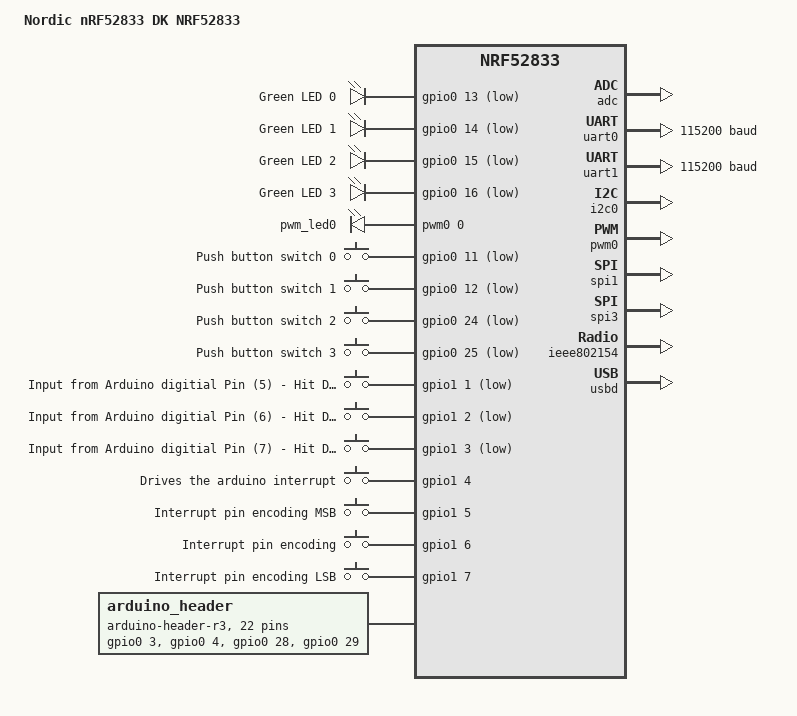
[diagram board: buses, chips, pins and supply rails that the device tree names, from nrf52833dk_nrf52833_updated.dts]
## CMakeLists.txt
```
#
# Copyright (c) 2019 Nordic Semiconductor ASA
#
# SPDX-License-Identifier: LicenseRef-Nordic-5-Clause
#
cmake_minimum_required(VERSION 3.20.0)

find_package(Zephyr REQUIRED HINTS $ENV{ZEPHYR_BASE})

project(app
	VERSION 0.1
	DESCRIPTION "A bluetooth mesh integration for a hightech water gun arena."
	LANGUAGES C)


include_directories(
	${ZEPHYR_NRF_MODULE_DIR}/samples/bluetooth/mesh/common
)

# NORDIC SDK APP START
target_sources(app PRIVATE
	src/main.c
	src/model_handler.c
	#src/vendor_test_model_cli.c
	#src/vendor_test_model_srv.c
	src/vendor_hit_cli.c
	src/vendor_hit_srv.c
	src/vendor_heartbeat_srv.c
	src/vendor_heartbeat_cli.c
	src/vendor_playerstatus_cli.c
	src/vendor_playerstatus_srv.c
	src/vendor_device_modification_cli.c
	src/vendor_device_modification_srv.c
	src/vendor_game_modification_cli.c
	src/vendor_game_modification_srv.c
	)
target_include_directories(app PRIVATE
	include
	${ZEPHYR_NRF_MODULE_DIR}/samples/bluetooth/mesh/common
)

# Preinitialization related to DFU over SMP for nRF52 series
if(CONFIG_SOC_SERIES_NRF52X)
  target_sources_ifdef(CONFIG_MCUMGR_TRANSPORT_BT app PRIVATE
    ${ZEPHYR_NRF_MODULE_DIR}/samples/bluetooth/mesh/common/smp_bt.c)
endif()

# NORDIC SDK APP END
```

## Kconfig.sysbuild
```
#
# Copyright (c) 2023 Nordic Semiconductor
#
# SPDX-License-Identifier: LicenseRef-Nordic-5-Clause
#

source "${ZEPHYR_BASE}/share/sysbuild/Kconfig"

config NRF_DEFAULT_BLUETOOTH
	default y


# menuconfig ETH_ENC28J60
# 	bool "ENC28J60C Ethernet Controller"
# 	default y
# 	depends on DT_HAS_MICROCHIP_ENC28J60_ENABLED
# 	select SPI
# 	help
# 	  ENC28J60C Stand-Alone Ethernet Controller
# 	  with SPI Interface

# if ETH_ENC28J60

# config ETH_ENC28J60_RX_THREAD_STACK_SIZE
# 	int "Stack size for internal incoming packet handler"
# 	depends on ETH_ENC28J60
# 	default 800
# 	help
# 	  Size of the stack used for internal thread which is ran for
# 	  incoming packet processing.

# config ETH_ENC28J60_RX_THREAD_PRIO
# 	int "Priority for internal incoming packet handler"
# 	depends on ETH_ENC28J60
# 	default 2
# 	help
# 	  Priority level for internal thread which is ran for incoming
# 	  packet processing.

# config ETH_ENC28J60_CLKRDY_INIT_WAIT_MS
# 	int "Time to wait for the CLKRDY bit on driver init"
# 	depends on ETH_ENC28J60
# 	default 2
# 	help
# 	  Timeout in milliseconds. Maximum time the initialisation
# 	  of the driver will wait for the OST to expire, indicated
# 	  by the CLKRDY bit set. If timeout driver init will fail
# 	  with -ETIMEDOUT.

# config ETH_ENC28J60_TIMEOUT
# 	int "IP buffer timeout"
# 	depends on ETH_ENC28J60
# 	default 100
# 	help
# 	  Given timeout in milliseconds. Maximum amount of time
# 	  that the driver will wait from the IP stack to get
# 	  a memory buffer before the Ethernet frame is dropped.

# endif # ETH_ENC28J60
```

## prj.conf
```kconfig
#
# Copyright (c) 2019 Nordic Semiconductor ASA
#
# SPDX-License-Identifier: LicenseRef-Nordic-5-Clause
#
CONFIG_NCS_SAMPLES_DEFAULTS=y

# Deffered logging helps improve LPN power consumption
# when friendship is established.
CONFIG_LOG_MODE_DEFERRED=y

# General configuration
CONFIG_SYSTEM_WORKQUEUE_STACK_SIZE=2048
CONFIG_FLASH=y
CONFIG_FLASH_MAP=y
CONFIG_NVS=y
CONFIG_SETTINGS=y
CONFIG_HWINFO=y
CONFIG_DK_LIBRARY=y
CONFIG_PM_SINGLE_IMAGE=y
CONFIG_PM_PARTITION_SIZE_SETTINGS_STORAGE=0x8000
CONFIG_SOC_FLASH_NRF_PARTIAL_ERASE=y
CONFIG_PWM=y

# Bluetooth configuration
CONFIG_BT=y
CONFIG_BT_COMPANY_ID=0x0059
CONFIG_BT_DEVICE_NAME="Arena Device"
CONFIG_BT_L2CAP_TX_BUF_COUNT=8

CONFIG_BT_OBSERVER=y
CONFIG_BT_PERIPHERAL=y
CONFIG_BT_SETTINGS=y
# Increase RX stack size to avoid overflow during provisioning
CONFIG_BT_RX_STACK_SIZE=2700

# Disable unused Bluetooth features
CONFIG_BT_CTLR_DUP_FILTER_LEN=0
CONFIG_BT_CTLR_LE_ENC=n
CONFIG_BT_PHY_UPDATE=n
CONFIG_BT_CTLR_CHAN_SEL_2=n
CONFIG_BT_CTLR_MIN_USED_CHAN=n
CONFIG_BT_CTLR_PRIVACY=n

# Configure Transaction Power
#CONFIG_BT_CTLR_TX_PWR_PLUS_8=y
#CONFIG_BT_CTLR_TX_PWR_PLUS_4=y
#CONFIG_BT_CTLR_TX_PWR_MINUS_4=y
#CONFIG_BT_CTLR_TX_PWR_MINUS_8=y
#CONFIG_BT_CTLR_TX_PWR_MINUS_20=y

# Bluetooth mesh configuration
CONFIG_BT_MESH=y
CONFIG_BT_MESH_RELAY=y
CONFIG_BT_MESH_FRIEND=y
CONFIG_BT_MESH_TX_SEG_MAX=10
CONFIG_BT_MESH_PB_GATT=y
CONFIG_BT_MESH_GATT_PROXY=y
CONFIG_BT_MESH_PROXY_USE_DEVICE_NAME=y
CONFIG_BT_MESH_DK_PROV=y
CONFIG_BT_MESH_CRPL=20


# Generic networking configuration
# CONFIG_NETWORKING=y
# CONFIG_NET_UDP=y
# CONFIG_NET_IPV6=n
# CONFIG_NET_IPV4=y
# CONFIG_NET_ARP=y
# CONFIG_NET_DHCPV4=y
# CONFIG_NET_DHCPV4_OPTION_CALLBACKS=y
#CONFIG_NET_TCP=y
#CONFIG_NET_SOCKETS=y
#CONFIG_NET_SOCKETS_POSIX_NAMES=y
#CONFIG_NET_SOCKETS_POLL_MAX=4

# Network buffers
# CONFIG_NET_PKT_RX_COUNT=16
# CONFIG_NET_PKT_TX_COUNT=16
# CONFIG_NET_BUF_RX_COUNT=80
# CONFIG_NET_BUF_TX_COUNT=80
# CONFIG_NET_CONTEXT_NET_PKT_POOL=y

# IP address options
#CONFIG_NET_IF_UNICAST_IPV6_ADDR_COUNT=3
#CONFIG_NET_IF_MCAST_IPV6_ADDR_COUNT=4
# CONFIG_NET_MAX_CONTEXTS=10

# Address selection
# CONFIG_NET_CONFIG_SETTINGS=y
# CONFIG_NET_CONFIG_MY_IPV4_ADDR="192.168.178.22"
# CONFIG_NET_CONFIG_PEER_IPV4_ADDR="192.168.178.109"

# Activate SPI drivers
# CONFIG_SPI=y
# CONFIG_NET_L2_ETHERNET=y
# CONFIG_ETH_DRIVER=y
# CONFIG_ETH_ENC28J60=y
# CONFIG_DT_HAS_MICROCHIP_ENC28J60_ENABLED=y

# Just for development and auto provisioning
#CONFIG_BT_MESH_PB_ADV=n
#CONFIG_BT_MESH_CFG_CLI=y

# Time Server configuration
#CONFIG_BT_MESH_TIME_SRV=y
#CONFIG_BT_MESH_TIME_MESH_HOP_UNCERTAINTY=30
#CONFIG_BT_MESH_TIME_SRV_CLOCK_ACCURACY=500

#Time Client configuration
#CONFIG_BT_MESH_TIME_CLI=y
#CONFIG_BT_MESH_SHELL=y
#CONFIG_BT_MESH_SHELL_TIME_CLI=y


# Bluetooth mesh models
#CONFIG_BT_MESH_ONOFF_SRV=y
```

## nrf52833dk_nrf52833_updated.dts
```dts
/*
 * Copyright (c) 2019 Nordic Semiconductor ASA
 *
 * SPDX-License-Identifier: Apache-2.0
 */

 /dts-v1/;
 #include <nordic/nrf52833_qiaa.dtsi>
 #include "nrf52833dk_nrf52833-pinctrl.dtsi"
 #include <zephyr/dt-bindings/input/input-event-codes.h>
 
 / {
	 model = "Nordic nRF52833 DK NRF52833";
	 compatible = "nordic,nrf52833-dk-nrf52833";
 
	 chosen {
		 zephyr,console = &uart0;
		 zephyr,shell-uart = &uart0;
		 zephyr,uart-mcumgr = &uart0;
		 zephyr,bt-mon-uart = &uart0;
		 zephyr,bt-c2h-uart = &uart0;
		 zephyr,sram = &sram0;
		 zephyr,flash = &flash0;
		 zephyr,code-partition = &slot0_partition;
		 zephyr,ieee802154 = &ieee802154;
	 };
 
	 leds {
		 compatible = "gpio-leds";
		 led0: led_0 {
			 gpios = <&gpio0 13 GPIO_ACTIVE_LOW>;
			 label = "Green LED 0";
		 };
		 led1: led_1 {
			 gpios = <&gpio0 14 GPIO_ACTIVE_LOW>;
			 label = "Green LED 1";
		 };
		 led2: led_2 {
			 gpios = <&gpio0 15 GPIO_ACTIVE_LOW>;
			 label = "Green LED 2";
		 };
		 led3: led_3 {
			 gpios = <&gpio0 16 GPIO_ACTIVE_LOW>;
			 label = "Green LED 3";
		 };
	 };
 
	 pwmleds {
		 compatible = "pwm-leds";
		 pwm_led0: pwm_led_0 {
			 pwms = <&pwm0 0 PWM_MSEC(20) PWM_POLARITY_INVERTED>;
		 };
	 };
 
	 buttons {
		 compatible = "gpio-keys";
		 button0: button_0 {
			 gpios = <&gpio0 11 (GPIO_PULL_UP | GPIO_ACTIVE_LOW)>;
			 label = "Push button switch 0";
			 zephyr,code = <INPUT_KEY_0>;
		 };
		 button1: button_1 {
			 gpios = <&gpio0 12 (GPIO_PULL_UP | GPIO_ACTIVE_LOW)>;
			 label = "Push button switch 1";
			 zephyr,code = <INPUT_KEY_1>;
		 };
		 button2: button_2 {
			 gpios = <&gpio0 24 (GPIO_PULL_UP | GPIO_ACTIVE_LOW)>;
			 label = "Push button switch 2";
			 zephyr,code = <INPUT_KEY_2>;
		 };
		 button3: button_3 {
			 gpios = <&gpio0 25 (GPIO_PULL_UP | GPIO_ACTIVE_LOW)>;
			 label = "Push button switch 3";
			 zephyr,code = <INPUT_KEY_3>;
		 };
	 };
 
	custom-pins {
		compatible = "gpio-keys";
		input_pin0: input_pin_0 {
			gpios = <&gpio1 1 (GPIO_PULL_UP | GPIO_ACTIVE_LOW)>;
			label = "Input from Arduino digitial Pin (5) - Hit Detection";
			zephyr,code = <INPUT_KEY_4>;
		};
		input_pin1: input_pin_1 {
			gpios = <&gpio1 2 (GPIO_PULL_UP | GPIO_ACTIVE_LOW)>;
			label = "Input from Arduino digitial Pin (6) - Hit Detection";
			zephyr,code = <INPUT_KEY_5>;
		};
		input_pin2: input_pin_2 {
			gpios = <&gpio1 3 (GPIO_PULL_UP | GPIO_ACTIVE_LOW)>;
			label = "Input from Arduino digitial Pin (7) - Hit Detection";
			zephyr,code = <INPUT_KEY_6>;
		};
		output_pin0: output_pin_0 {
			gpios = <&gpio1 4 GPIO_ACTIVE_HIGH>;
			label = "Drives the arduino interrupt";
		};
		output_pin1: output_pin_1 {
			gpios = <&gpio1 5 GPIO_ACTIVE_HIGH>;
			label = "Interrupt pin encoding MSB";
		};
		output_pin2: output_pin_2 {
			gpios = <&gpio1 6 GPIO_ACTIVE_HIGH>;
			label = "Interrupt pin encoding";
		};
		output_pin3: output_pin_3 {
			gpios = <&gpio1 7 GPIO_ACTIVE_HIGH>;
			label = "Interrupt pin encoding LSB";
		};
	};
 
	 arduino_header: connector {
		 compatible = "arduino-header-r3";
		 #gpio-cells = <2>;
		 gpio-map-mask = <0xffffffff 0xffffffc0>;
		 gpio-map-pass-thru = <0 0x3f>;
		 gpio-map = <0 0 &gpio0 3 0>,
			  <1 0 &gpio0 4 0>,
			  <2 0 &gpio0 28 0>,
			  <3 0 &gpio0 29 0>,
			  <4 0 &gpio0 30 0>,
			  <5 0 &gpio0 31 0>,
			  <6 0 &gpio1 1 0>,
			  <7 0 &gpio1 2 0>,
			  <8 0 &gpio1 3 0>,
			  <9 0 &gpio1 4 0>,
			  <10 0 &gpio1 5 0>,
			  <11 0 &gpio1 6 0>,
			  <12 0 &gpio1 7 0>,
			  <13 0 &gpio1 8 0>,
			  <14 0 &gpio0 17 0>,
			  <15 0 &gpio0 19 0>,
			  <16 0 &gpio0 20 0>,
			  <17 0 &gpio0 21 0>,
			  <18 0 &gpio0 22 0>,
			  <19 0 &gpio0 23 0>,
			  <20 0 &gpio0 26 0>,
			  <21 0 &gpio0 27 0>;	/* D15 */
	 };
 
	 /* These aliases are provided for compatibility with samples */
	 aliases {
		 led0 = &led0;
		 led1 = &led1;
		 led2 = &led2;
		 led3 = &led3;
		 pwm-led0 = &pwm_led0;
		 sw0 = &button0;
		 sw1 = &button1;
		 sw2 = &button2;
		 sw3 = &button3;
		 bootloader-led0 = &led0;
		 mcuboot-button0 = &button0;
		 mcuboot-led0 = &led0;
		 watchdog0 = &wdt0;
		 input0 = &input_pin0;
		 input1 = &input_pin1;
		 input2 = &input_pin2;
		 output0 = &output_pin0;
		 output1 = &output_pin1;
		 output2 = &output_pin2;
		 output3 = &output_pin3;
	 };
 };
 
 &adc {
	 status = "okay";
 };
 
 &uicr {
	 gpio-as-nreset;
 };
 
 &gpiote {
	 status = "okay";
 };
 
 &gpio0 {
	 status = "okay";
 };
 
 &gpio1 {
	 status = "okay";
 };
 
 &uart0 {
	 compatible = "nordic,nrf-uarte";
	 status = "okay";
	 current-speed = <115200>;
	 pinctrl-0 = <&uart0_default>;
	 pinctrl-1 = <&uart0_sleep>;
	 pinctrl-names = "default", "sleep";
 };
 
 arduino_serial: &uart1 {
	 current-speed = <115200>;
	 pinctrl-0 = <&uart1_default>;
	 pinctrl-1 = <&uart1_sleep>;
	 pinctrl-names = "default", "sleep";
 };
 
 arduino_i2c: &i2c0 {
	 compatible = "nordic,nrf-twi";
	 status = "okay";
	 pinctrl-0 = <&i2c0_default>;
	 pinctrl-1 = <&i2c0_sleep>;
	 pinctrl-names = "default", "sleep";
 };
 
 &i2c1 {
	 compatible = "nordic,nrf-twi";
	 /* Cannot be used together with spi1. */
	 /* status = "okay"; */
	 pinctrl-0 = <&i2c1_default>;
	 pinctrl-1 = <&i2c1_sleep>;
	 pinctrl-names = "default", "sleep";
 };
 
 &pwm0 {
	 status = "okay";
	 pinctrl-0 = <&pwm0_default>;
	 pinctrl-1 = <&pwm0_sleep>;
	 pinctrl-names = "default", "sleep";
 };
 
 &spi0 {
	 compatible = "nordic,nrf-spi";
	 /* Cannot be used together with i2c0. */
	 /* status = "okay"; */
	 pinctrl-0 = <&spi0_default>;
	 pinctrl-1 = <&spi0_sleep>;
	 pinctrl-names = "default", "sleep";
 };
 
 &spi1 {
	 compatible = "nordic,nrf-spi";
	 status = "okay";
	 pinctrl-0 = <&spi1_default>;
	 pinctrl-1 = <&spi1_sleep>;
	 pinctrl-names = "default", "sleep";
 };
 
 arduino_spi: &spi3 {
	 status = "okay";
	 cs-gpios = <&arduino_header 16 GPIO_ACTIVE_LOW>; /* D10 */
	 pinctrl-0 = <&spi3_default>;
	 pinctrl-1 = <&spi3_sleep>;
	 pinctrl-names = "default", "sleep";
 };
 
 &ieee802154 {
	 status = "okay";
 };
 
 &flash0 {
 
	 partitions {
		 compatible = "fixed-partitions";
		 #address-cells = <1>;
		 #size-cells = <1>;
 
		 boot_partition: partition@0 {
			 label = "mcuboot";
			 reg = <0x00000000 0xC000>;
		 };
		 slot0_partition: partition@c000 {
			 label = "image-0";
			 reg = <0x0000C000 0x37000>;
		 };
		 slot1_partition: partition@43000 {
			 label = "image-1";
			 reg = <0x00043000 0x37000>;
		 };
		 storage_partition: partition@7a000 {
			 label = "storage";
			 reg = <0x0007A000 0x00006000>;
		 };
	 };
 };
 
 zephyr_udc0: &usbd {
	 compatible = "nordic,nrf-usbd";
	 status = "okay";
 };
 
&power {
	status = "okay";
};
```

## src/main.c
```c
#include <zephyr/bluetooth/bluetooth.h>
#include <zephyr/bluetooth/mesh.h>
#include <bluetooth/mesh/models.h>
#include <bluetooth/mesh/dk_prov.h>
#include <dk_buttons_and_leds.h>
#include "model_handler.h"
#include "smp_bt.h"
#include <zephyr/bluetooth/mesh/cfg_cli.h>
#include "board.h"

static void bt_ready(int err)
{
	if (err) {
		printk("Bluetooth init failed (err %d)\n", err);
		return;
	}

	printk("Bluetooth initialized\n");

	dk_leds_init();
	dk_buttons_init(NULL);

	err = bt_mesh_init(bt_mesh_dk_prov_init(), model_handler_init());
	if (err) {
		printk("Initializing mesh failed (err %d)\n", err);
		return;
	}

	if (IS_ENABLED(CONFIG_SETTINGS)) {
		printk("Loading stored settings\n");
		settings_load();
	}

	bt_mesh_prov_enable(BT_MESH_PROV_ADV | BT_MESH_PROV_GATT);

	printk("Mesh initialized\n");

	if (IS_ENABLED(CONFIG_SOC_SERIES_NRF52X) && IS_ENABLED(CONFIG_MCUMGR_TRANSPORT_BT)) {
		err = smp_dfu_init();
		if (err) {
			printk("Unable to initialize DFU (err %d)\n", err);
		}
	}
}

int main(void)
{
	int err;

	printk("Initializing...\n");
	
	err = bt_enable(bt_ready);
	if (err) {
		printk("Bluetooth init failed (err %d)\n", err);
	}

	return 0;
}
```

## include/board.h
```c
#ifndef BOARD_H
#define BOARD_H


#include "vendor_model_common.h"

/*
    NODE_NODE_ADDR_SELFADDR - Address of the node
    NODE_ADDR_TARGET - Address of the target node (for publication etc.)
    MOD_VND_ID - Model ID 

*/

#if PROGRAMM_CLIENT
#if !defined(NODE_ADDR_SELF)
#define NODE_ADDR_SELF 0x0b0c
#endif
#define NODE_ADDR_TARGET 0x0b0d
#define MOD_VND_ID BT_MESH_MODEL_ID_SPYRA_HIT_CLI

#define GROUP_ADDR 0xc000
#define PUBLISHER_ADDR  0x000f
#else
#if !defined(NODE_ADDR_SELF)
#define NODE_ADDR_SELF 0x0b0d
#endif
#define NODE_ADDR_TARGET 0x0b0c
#define MOD_VND_ID BT_MESH_MODEL_ID_SPYRA_HIT_SRV

#define GROUP_ADDR 0xc000
#define PUBLISHER_ADDR  0x000f
#endif

#define HIT_PIN DT_ALIAS(input0)
#define SHOT_PIN DT_ALIAS(input1)
#define PUMP_PIN DT_ALIAS(input2)

#define INTERRUPT_PIN DT_ALIAS(output0)
#define INTERRUPT_DECODER_MSB DT_ALIAS(output1)
#define INTERRUPT_DECODER_2 DT_ALIAS(output2)
#define INTERRUPT_DECODER_LSB DT_ALIAS(output3)

#endif

static inline int board_init(uint16_t *addr)
{
	*addr = NODE_ADDR_SELF;
	return 0;
}
```

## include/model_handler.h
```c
#ifndef MODEL_HANDLER_H__
#define MODEL_HANDLER_H__

#include <zephyr/bluetooth/mesh.h>

#ifdef __cplusplus
extern "C" {
#endif

const struct bt_mesh_comp *model_handler_init(void);

#ifdef __cplusplus
}
#endif

#endif /* MODEL_HANDLER_H__ */
```

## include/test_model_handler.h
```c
/*
 * Copyright (c) 2019 Nordic Semiconductor ASA
 *
 * SPDX-License-Identifier: LicenseRef-Nordic-5-Clause
 */

/**
 * @file
 * @brief Model handler
 */

#ifndef TEST_MODEL_HANDLER_H__
#define TEST_MODEL_HANDLER_H__

#include <zephyr/bluetooth/mesh.h>

#ifdef __cplusplus
extern "C" {
#endif

const struct bt_mesh_comp *test_model_handler_init(void);

#ifdef __cplusplus
}
#endif

#endif /* TEST_MODEL_HANDLER_H__ */
```

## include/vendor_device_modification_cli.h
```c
/*
* Vendor client model that implements a device modification model.
*/

#ifndef VENDOR_DEVICE_MODIFICATION_CLI_H
#define VENDOR_DEVICE_MODIFICATION_CLI_H

#include "vendor_model_common.h"

struct bt_mesh_vendor_device_modification_cli;

/** @def BT_MESH_VENDOR_DEVICE_MODIFICATION_CLI_INIT
 *
 * @brief Initialization parameters for a @ref bt_mesh_vendor_devicemodification_cli instance.
 *
 * @param[in] _status_handler Optional status message handler.
 */
#define BT_MESH_VENDOR_DEVICE_MODIFICATION_CLI_INIT(_handlers)	\
	{                                                   \
		.handlers = _handlers,                          \
	}

/** @def BT_MESH_MODEL_VENDOR_DEVICE_MODIFICATION_CLI
 *
 * @brief Vendor Device Modification Client model composition data entry.
 *
 * @param[in] _cli Pointer to a @ref bt_mesh_vendor_device_modification_cli instance.
 */
#define BT_MESH_VENDOR_MODEL_DEVICE_MODIFICATION_CLI(_cli)                               				\
	BT_MESH_MODEL_VND_CB(SPYRA_COMPANY_ID,													\
						BT_MESH_MODEL_ID_SPYRA_DEVICE_MODIFICATION_CLI,                   			\
			 			_vendor_device_modification_cli_opcode_list, &(_cli)->pub,                  	\
			 			BT_MESH_MODEL_USER_DATA(struct bt_mesh_vendor_device_modification_cli, _cli),	\
			 			&_bt_mesh_vendor_device_modification_cli_cb)


/** Generic Vendor Device Modification Client state access handlers. */
struct bt_mesh_vendor_device_modification_cli_handlers {
	/** @brief Get the Device Modification state.
	 *
	 * @note This handler is mandatory.
	 *
	 * @param[in] cli Client instance to get the state of.
	 * @param[in] ctx Message context for the message that triggered the
	 * change, or NULL if the change is not coming from a message.
	 * @param[out] rsp Response structure to be filled.
	 */
	void (*const status)(struct bt_mesh_vendor_device_modification_cli *cli,
			  struct bt_mesh_msg_ctx *ctx,
			  struct bt_mesh_vendor_playerstatus_status *rsp);
};
                                         
/**
 * Vendor Device Modification Client structure.
 *
 * Should be initialized with the @ref BT_MESH_VENDOR_DEVICE_MODIFICATION_CLI_INIT macro.
 */
struct bt_mesh_vendor_device_modification_cli {
	/** Current Transaction ID. */
	uint8_t tid;
	/** Response context for tracking acknowledged messages. */
	struct bt_mesh_msg_ack_ctx ack_ctx;
	/** Publish parameters. */
	struct bt_mesh_model_pub pub;
	/* Publication buffer */
	struct net_buf_simple pub_buf;
	/* Publication data */
	uint8_t pub_data[BT_MESH_MODEL_BUF_LEN(BT_MESH_VENDOR_DEVICE_MODIFICATION_SET_OP,
					       BT_MESH_VENDOR_DEVICE_MODIFICATION_MSG_SET_MAX_LEN)];
	/** Access model pointer. */
	struct bt_mesh_model *model;
	/** Handler function structure. */
	const struct bt_mesh_vendor_device_modification_cli_handlers *handlers;
};

/** @brief Set the Device Modification state in the srv.
 *
 * This call is blocking if the @p rsp buffer is non-NULL. Otherwise, this
 * function will return, and the response will be passed to the
 * @ref bt_mesh_vendor_device_modification_cli::status_handler callback.
 *
 * @param[in] cli Client model to send on.
 * @param[in] ctx Message context, or NULL to use the configured publish
 * parameters.
 * @param[in] set New hit parameters to set. @p set::transition can either
 * point to a transition structure, or be left to NULL to use the default
 * transition parameters on the server.
 * @param[out] rsp Status response buffer, or NULL to keep from blocking.
 *
 * @retval 0 Successfully sent the message and populated the @p rsp buffer.
 * @retval -EALREADY A blocking request is already in progress.
 * @retval -EADDRNOTAVAIL A message context was not provided and publishing is
 * not configured.
 * @retval -EAGAIN The device has not been provisioned.
 * @retval -ETIMEDOUT The request timed out without a response.
 */
int bt_mesh_vendor_device_modification_cli_set(struct bt_mesh_vendor_device_modification_cli *cli,
			  struct bt_mesh_msg_ctx *ctx,
			  const struct bt_mesh_vendor_device_modification_set *set,
			  struct bt_mesh_vendor_playerstatus_status *rsp);


/** @cond INTERNAL_HIDDEN */
extern const struct bt_mesh_model_op _vendor_device_modification_cli_opcode_list[];
extern const struct bt_mesh_model_cb _bt_mesh_vendor_device_modification_cli_cb;
/** @endcond */


#endif
```

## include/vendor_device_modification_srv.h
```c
/*
* Vendor server model that implements a Device Modification model.
*/

#ifndef VENDOR_DEVICE_MODIFICATION_SRV_H
#define VENDOR_DEVICE_MODIFICATION_SRV_H

#include "vendor_model_common.h"

struct bt_mesh_vendor_device_modification_srv;

/** @def BT_MESH_VENDOR_GAME_MODIFICATION_SRV_INIT
 *
 * @brief Init parameters for a @ref bt_mesh_vendor_device_modification_srv instance.
 *
 * @param[in] _handlers State access handlers to use in the model instance.
 */
#define BT_MESH_VENDOR_DEVICE_MODIFICATION_SRV_INIT(_handlers)              \
	{                                                             \
		.handlers = _handlers,                                    \
	}


/** @def BT_MESH_VENDOR_MODEL_GAME_MODIFICATION_SRV
 *
 * @brief Vendor Device Modidifcation model composition data entry.
 *
 * @param[in] _srv Pointer to a @ref bt_mesh_vendor_device_modification_srv instance.
 */
#define BT_MESH_VENDOR_MODEL_DEVICE_MODIFICATION_SRV(_srv)                                            	\
	BT_MESH_MODEL_VND_CB(SPYRA_COMPANY_ID,														\
						BT_MESH_MODEL_ID_SPYRA_DEVICE_MODIFICATION_SRV,                               	\
			 			_vendor_device_modification_srv_opcode_list, &(_srv)->pub,                      	\
			 			BT_MESH_MODEL_USER_DATA(struct bt_mesh_vendor_device_modification_srv, _srv),  	\
			 			&_bt_mesh_vendor_device_modification_srv_cb)


int vendor_device_modification_srv_pub(struct bt_mesh_vendor_device_modification_srv *srv,
			  struct bt_mesh_msg_ctx *ctx,
			  const struct bt_mesh_vendor_playerstatus_status *status);


/** Generic Vendor Device Modification Server state access handlers. */
struct bt_mesh_vendor_device_modification_srv_handlers {
	/** @brief Set the Device Modification state.
	 *
	 * When a set message is received, the model publishes a status message, with the response
	 * set to @c rsp. When an acknowledged set message is received, the model also sends a
	 * response back to a client.
	 *
	 * @note This handler is mandatory.
	 *
	 * @param[in] srv Server instance to set the state of.
	 * @param[in] ctx Message context for the message that triggered the
	 * change, or NULL if the change is not coming from a message.
	 * @param[in] set Parameters of the state change.
	 * @param[out] rsp Response structure to be filled.
	 */
	void (*const set)(struct bt_mesh_vendor_device_modification_srv *srv,
			  struct bt_mesh_msg_ctx *ctx,
			  const struct bt_mesh_vendor_device_modification_set *set,
			  struct bt_mesh_vendor_playerstatus_status *rsp);
};

/**
 * Generic Vendor Device Modification Server instance. Should primarily be initialized with the
 * @ref BT_MESH_VENDOR_GAME_MODIFICATION_SRV_INIT macro.
 */
struct bt_mesh_vendor_device_modification_srv {
	/** Transaction ID tracker. */
	struct bt_mesh_tid_ctx prev_transaction;
	/** Handler function structure. */
	const struct bt_mesh_vendor_device_modification_srv_handlers *handlers;
	/** Access model pointer. */
	struct bt_mesh_model *model;
	/** Publish parameters. */
	struct bt_mesh_model_pub pub;
	/* Publication buffer */
	struct net_buf_simple pub_buf;
	/* Publication data */
	uint8_t pub_data[BT_MESH_MODEL_BUF_LEN(
		BT_MESH_VENDOR_GAME_MODIFICATION_STATUS_OP, BT_MESH_VENDOR_GAME_MODIFICATION_MSG_STATUS_MAX_LEN)];
	/** Internal flag state. */
	atomic_t flags;
};


/** @cond INTERNAL_HIDDEN */
extern const struct bt_mesh_model_op _vendor_device_modification_srv_opcode_list[];
extern const struct bt_mesh_model_cb _bt_mesh_vendor_device_modification_srv_cb;
/** @endcond */

#endif
```

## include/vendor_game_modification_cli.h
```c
/*
* Vendor client model that implements a game modification model.
*/

#ifndef VENDOR_GAME_MODIFICATION_CLI_H
#define VENDOR_GAME_MODIFICATION_CLI_H

#include "vendor_model_common.h"

struct bt_mesh_vendor_game_modification_cli;

/** @def BT_MESH_VENDOR_GAME_MODIFICATION_CLI_INIT
 *
 * @brief Initialization parameters for a @ref bt_mesh_vendor_gamemodification_cli instance.
 *
 * @param[in] _status_handler Optional status message handler.
 */
#define BT_MESH_VENDOR_GAME_MODIFICATION_CLI_INIT(_handlers)	\
	{                                                   \
		.handlers = _handlers,                          \
	}

/** @def BT_MESH_MODEL_VENDOR_GAME_MODIFICATION_CLI
 *
 * @brief Vendor Device Modification Client model composition data entry.
 *
 * @param[in] _cli Pointer to a @ref bt_mesh_vendor_game_modification_cli instance.
 */
#define BT_MESH_VENDOR_MODEL_GAME_MODIFICATION_CLI(_cli)                               				\
	BT_MESH_MODEL_VND_CB(SPYRA_COMPANY_ID,													\
						BT_MESH_MODEL_ID_SPYRA_GAME_MODIFICATION_CLI,                   			\
			 			_vendor_game_modification_cli_opcode_list, &(_cli)->pub,                  	\
			 			BT_MESH_MODEL_USER_DATA(struct bt_mesh_vendor_game_modification_cli, _cli),	\
			 			&_bt_mesh_vendor_game_modification_cli_cb)


/** Generic Vendor Device Modification Client state access handlers. */
struct bt_mesh_vendor_game_modification_cli_handlers {
	/** @brief Get the Device Modification state.
	 *
	 * @note This handler is mandatory.
	 *
	 * @param[in] cli Client instance to get the state of.
	 * @param[in] ctx Message context for the message that triggered the
	 * change, or NULL if the change is not coming from a message.
	 * @param[out] rsp Response structure to be filled.
	 */
	void (*const status)(struct bt_mesh_vendor_game_modification_cli *cli,
			  struct bt_mesh_msg_ctx *ctx,
			  struct bt_mesh_vendor_playerstatus_status *rsp);
};
                                         
/**
 * Vendor Device Modification Client structure.
 *
 * Should be initialized with the @ref BT_MESH_VENDOR_GAME_MODIFICATION_CLI_INIT macro.
 */
struct bt_mesh_vendor_game_modification_cli {
	/** Current Transaction ID. */
	uint8_t tid;
	/** Response context for tracking acknowledged messages. */
	struct bt_mesh_msg_ack_ctx ack_ctx;
	/** Publish parameters. */
	struct bt_mesh_model_pub pub;
	/* Publication buffer */
	struct net_buf_simple pub_buf;
	/* Publication data */
	uint8_t pub_data[BT_MESH_MODEL_BUF_LEN(BT_MESH_VENDOR_GAME_MODIFICATION_SET_OP,
					       BT_MESH_VENDOR_GAME_MODIFICATION_MSG_SET_MAX_LEN)];
	/** Access model pointer. */
	struct bt_mesh_model *model;
	/** Handler function structure. */
	const struct bt_mesh_vendor_game_modification_cli_handlers *handlers;
};

/** @brief Set the Device Modification state in the srv.
 *
 * This call is blocking if the @p rsp buffer is non-NULL. Otherwise, this
 * function will return, and the response will be passed to the
 * @ref bt_mesh_vendor_game_modification_cli::status_handler callback.
 *
 * @param[in] cli Client model to send on.
 * @param[in] ctx Message context, or NULL to use the configured publish
 * parameters.
 * @param[in] set New hit parameters to set. @p set::transition can either
 * point to a transition structure, or be left to NULL to use the default
 * transition parameters on the server.
 * @param[out] rsp Status response buffer, or NULL to keep from blocking.
 *
 * @retval 0 Successfully sent the message and populated the @p rsp buffer.
 * @retval -EALREADY A blocking request is already in progress.
 * @retval -EADDRNOTAVAIL A message context was not provided and publishing is
 * not configured.
 * @retval -EAGAIN The game has not been provisioned.
 * @retval -ETIMEDOUT The request timed out without a response.
 */
int bt_mesh_vendor_game_modification_cli_set(struct bt_mesh_vendor_game_modification_cli *cli,
			  struct bt_mesh_msg_ctx *ctx,
			  const struct bt_mesh_vendor_game_modification_set *set,
			  struct bt_mesh_vendor_playerstatus_status *rsp);


/** @cond INTERNAL_HIDDEN */
extern const struct bt_mesh_model_op _vendor_game_modification_cli_opcode_list[];
extern const struct bt_mesh_model_cb _bt_mesh_vendor_game_modification_cli_cb;
/** @endcond */


#endif
```

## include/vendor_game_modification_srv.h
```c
/*
* Vendor server model that implements a Device Modification model.
*/

#ifndef VENDOR_GAME_MODIFICATION_SRV_H
#define VENDOR_GAME_MODIFICATION_SRV_H

#include "vendor_model_common.h"

struct bt_mesh_vendor_game_modification_srv;

/** @def BT_MESH_VENDOR_GAME_MODIFICATION_SRV_INIT
 *
 * @brief Init parameters for a @ref bt_mesh_vendor_game_modification_srv instance.
 *
 * @param[in] _handlers State access handlers to use in the model instance.
 */
#define BT_MESH_VENDOR_GAME_MODIFICATION_SRV_INIT(_handlers)              \
	{                                                             \
		.handlers = _handlers,                                    \
	}


/** @def BT_MESH_VENDOR_MODEL_GAME_MODIFICATION_SRV
 *
 * @brief Vendor Device Modidifcation model composition data entry.
 *
 * @param[in] _srv Pointer to a @ref bt_mesh_vendor_game_modification_srv instance.
 */
#define BT_MESH_VENDOR_MODEL_GAME_MODIFICATION_SRV(_srv)                                            	\
	BT_MESH_MODEL_VND_CB(SPYRA_COMPANY_ID,														\
						BT_MESH_MODEL_ID_SPYRA_GAME_MODIFICATION_SRV,                               	\
			 			_vendor_game_modification_srv_opcode_list, &(_srv)->pub,                      	\
			 			BT_MESH_MODEL_USER_DATA(struct bt_mesh_vendor_game_modification_srv, _srv),  	\
			 			&_bt_mesh_vendor_game_modification_srv_cb)


int vendor_game_modification_srv_pub(struct bt_mesh_vendor_game_modification_srv *srv,
			  struct bt_mesh_msg_ctx *ctx,
			  const struct bt_mesh_vendor_playerstatus_status *status);


/** Generic Vendor Device Modification Server state access handlers. */
struct bt_mesh_vendor_game_modification_srv_handlers {
	/** @brief Set the Device Modification state.
	 *
	 * When a set message is received, the model publishes a status message, with the response
	 * set to @c rsp. When an acknowledged set message is received, the model also sends a
	 * response back to a client.
	 *
	 * @note This handler is mandatory.
	 *
	 * @param[in] srv Server instance to set the state of.
	 * @param[in] ctx Message context for the message that triggered the
	 * change, or NULL if the change is not coming from a message.
	 * @param[in] set Parameters of the state change.
	 * @param[out] rsp Response structure to be filled.
	 */
	void (*const set)(struct bt_mesh_vendor_game_modification_srv *srv,
			  struct bt_mesh_msg_ctx *ctx,
			  const struct bt_mesh_vendor_game_modification_set *set,
			  struct bt_mesh_vendor_playerstatus_status *rsp);
};

/**
 * Generic Vendor Device Modification Server instance. Should primarily be initialized with the
 * @ref BT_MESH_VENDOR_GAME_MODIFICATION_SRV_INIT macro.
 */
struct bt_mesh_vendor_game_modification_srv {
	/** Transaction ID tracker. */
	struct bt_mesh_tid_ctx prev_transaction;
	/** Handler function structure. */
	const struct bt_mesh_vendor_game_modification_srv_handlers *handlers;
	/** Access model pointer. */
	struct bt_mesh_model *model;
	/** Publish parameters. */
	struct bt_mesh_model_pub pub;
	/* Publication buffer */
	struct net_buf_simple pub_buf;
	/* Publication data */
	uint8_t pub_data[BT_MESH_MODEL_BUF_LEN(
		BT_MESH_VENDOR_GAME_MODIFICATION_STATUS_OP, BT_MESH_VENDOR_GAME_MODIFICATION_MSG_STATUS_MAX_LEN)];
	/** Internal flag state. */
	atomic_t flags;
};


/** @cond INTERNAL_HIDDEN */
extern const struct bt_mesh_model_op _vendor_game_modification_srv_opcode_list[];
extern const struct bt_mesh_model_cb _bt_mesh_vendor_game_modification_srv_cb;
/** @endcond */

#endif
```

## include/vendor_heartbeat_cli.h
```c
/*
* Vendor model that implements a simple heartbeat function which is published by a server model in regular intervalls.  
*/

#ifndef VENDOR_HEARTBEAT_CLI_H
#define VENDOR_HEARTBEAT_CLI_H

#include "vendor_model_common.h"

struct bt_mesh_vendor_heartbeat_cli;

/** @def BT_MESH_VENDOR_HEARTBEAT_CLI_INIT
 *
 * @brief Initialization parameters for a @ref bt_mesh_vendor_heartbeat_cli instance.
 *
 * @param[in] _status_handler Optional status message handler.
 */
#define BT_MESH_VENDOR_HEARTBEAT_CLI_INIT(_handlers)	\
	{                                                   \
		.handlers = _handlers,                          \
	}

/** @def BT_MESH_MODEL_VENDOR_HEARTBEAT_CLI
 *
 * @brief Vendor Heartbeat Client model composition data entry.
 *
 * @param[in] _cli Pointer to a @ref bt_mesh_Vendor_heartbeat_cli instance.
 */
#define BT_MESH_VENDOR_MODEL_HEARTBEAT_CLI(_cli)                               				\
	BT_MESH_MODEL_VND_CB(SPYRA_COMPANY_ID,													\
						BT_MESH_MODEL_ID_SPYRA_HEARTBEAT_CLI,                   			\
			 			_vendor_heartbeat_cli_opcode_list, &(_cli)->pub,                  	\
			 			BT_MESH_MODEL_USER_DATA(struct bt_mesh_vendor_heartbeat_cli, _cli),	\
			 			&_bt_mesh_vendor_heartbeat_cli_cb)

/** Parameters for the Vendor Heartbeat Status message. */
//struct bt_mesh_vendor_heartbeat_get {
//	bool reuse_transaction;
//	const struct bt_mesh_model_transition *transition;
//};

/** Generic Vendor Heartbeat Client state access handlers. */
struct bt_mesh_vendor_heartbeat_cli_handlers {
	/** @brief Get the Heartbeat state.
	 *
	 * @note This handler is mandatory.
	 *
	 * @param[in] cli Client instance to get the state of.
	 * @param[in] ctx Message context for the message that triggered the
	 * change, or NULL if the change is not coming from a message.
	 * @param[out] rsp Response structure to be filled.
	 */
	void (*const status)(struct bt_mesh_vendor_heartbeat_cli *cli,
			  struct bt_mesh_msg_ctx *ctx,
			  struct bt_mesh_vendor_playerstatus_status *rsp);
};
                                         
/**
 * Vendor Heartbeat Client structure.
 *
 * Should be initialized with the @ref BT_MESH_VENDOR_HEARTBEAT_CLI_INIT macro.
 */
struct bt_mesh_vendor_heartbeat_cli {
	/** Current Transaction ID. */
	uint8_t tid;
	/** Response context for tracking acknowledged messages. */
	struct bt_mesh_msg_ack_ctx ack_ctx;
	/** Publish parameters. */
	struct bt_mesh_model_pub pub;
	/* Publication buffer */
	struct net_buf_simple pub_buf;
	/* Publication data */
	uint8_t pub_data[BT_MESH_MODEL_BUF_LEN(BT_MESH_VENDOR_HEARTBEAT_GET_OP,
					       BT_MESH_VENDOR_HEARTBEAT_MSG_GET_MAX_LEN)];
	/** Access model pointer. */
	struct bt_mesh_model *model;
	/** Handler function structure. */
	const struct bt_mesh_vendor_heartbeat_cli_handlers *handlers;
};

/** @brief Get the status of the bound srv.
 *
 * This call is blocking if the @p rsp buffer is non-NULL. Otherwise, this
 * function will return, and the response will be passed to the
 * @ref bt_mesh_vendor_heartbeat_cli::status_handler callback.
 *
 * @param[in] cli Client model to send on.
 * @param[in] ctx Message context, or NULL to use the configured publish
 * parameters.
 * @param[out] rsp Status response buffer, or NULL to keep from blocking.
 *
 * @retval 0 Successfully sent the message and populated the @p rsp buffer.
 * @retval -EALREADY A blocking request is already in progress.
 * @retval -EADDRNOTAVAIL A message context was not provided and publishing is
 * not configured.
 * @retval -EAGAIN The device has not been provisioned.
 * @retval -ETIMEDOUT The request timed out without a response.
 */
int bt_mesh_vendor_heartbeat_cli_get(struct bt_mesh_vendor_heartbeat_cli *cli,
			  struct bt_mesh_msg_ctx *ctx,
			  struct bt_mesh_vendor_playerstatus_status *rsp);


/** @cond INTERNAL_HIDDEN */
extern const struct bt_mesh_model_op _vendor_heartbeat_cli_opcode_list[];
extern const struct bt_mesh_model_cb _bt_mesh_vendor_heartbeat_cli_cb;
/** @endcond */


#endif
```

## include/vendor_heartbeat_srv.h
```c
/*
* Vendor model that implements a simple heartbeat function which is published by a server model in regular intervalls.  
*/

#ifndef VENDOR_HEARTBEAT_SRV_H
#define VENDOR_HEARTBEAT_SRV_H

#include "vendor_model_common.h"

struct bt_mesh_vendor_heartbeat_srv;

/** @def BT_MESH_VENDOR_HEARTBEAT_SRV_INIT
 *
 * @brief Init parameters for a @ref bt_mesh_vendor_heartbeat_srv instance.
 *
 * @param[in] _handlers State access handlers to use in the model instance.
 */
#define BT_MESH_VENDOR_HEARTBEAT_SRV_INIT(_handlers)              \
	{                                                             \
		.handlers = _handlers,                                    \
	}


/** @def BT_MESH_VENDOR_MODEL_HEARTBEAT_SRV
 *
 * @brief Vendor Heartbeat model composition data entry.
 *
 * @param[in] _srv Pointer to a @ref bt_mesh_vendor_heartbeat_srv instance.
 */
#define BT_MESH_VENDOR_MODEL_HEARTBEAT_SRV(_srv)                                            	\
	BT_MESH_MODEL_VND_CB(SPYRA_COMPANY_ID,														\
						BT_MESH_MODEL_ID_SPYRA_HEARTBEAT_SRV,                               	\
			 			NULL, &(_srv)->pub,                      	\
			 			BT_MESH_MODEL_USER_DATA(struct bt_mesh_vendor_heartbeat_srv, _srv),  	\
			 			&_bt_mesh_vendor_heartbeat_srv_cb)


/** Generic Vendor Heartbeat Server state access handlers. */
struct bt_mesh_vendor_heartbeat_srv_handlers {
	/** @brief Get the Heartbeat state.
	 *
	 * @note This handler is mandatory.
	 *
	 * @param[in] srv Server instance to get the state of.
	 * @param[in] ctx Message context for the message that triggered the
	 * change, or NULL if the change is not coming from a message.
	 * @param[out] rsp Response structure to be filled.
	 */
	void (*const get)(struct bt_mesh_vendor_heartbeat_srv *srv,
			  struct bt_mesh_msg_ctx *ctx,
			  struct bt_mesh_vendor_playerstatus_status *rsp);
};

/**
 * Generic Vendor Heartbeat Server instance. Should primarily be initialized with the
 * @ref BT_MESH_VENDOR_HEARTBEAT_SRV_INIT macro.
 */
struct bt_mesh_vendor_heartbeat_srv {
	/** Transaction ID tracker. */
	struct bt_mesh_tid_ctx prev_transaction;
	/** Handler function structure. */
	const struct bt_mesh_vendor_heartbeat_srv_handlers *handlers;
	/** Access model pointer. */
	struct bt_mesh_model *model;
	/** Publish parameters. */
	struct bt_mesh_model_pub pub;
	/* Publication buffer */
	struct net_buf_simple pub_buf;
	/* Publication data */
	uint8_t pub_data[BT_MESH_MODEL_BUF_LEN(
		BT_MESH_VENDOR_HEARTBEAT_STATUS_OP, BT_MESH_VENDOR_HEARTBEAT_MSG_STATUS_MAX_LEN)];
	/** Internal flag state. */
	atomic_t flags;
};


/** @cond INTERNAL_HIDDEN */
//extern const struct bt_mesh_model_op _vendor_heartbeat_srv_opcode_list[];
extern const struct bt_mesh_model_cb _bt_mesh_vendor_heartbeat_srv_cb;
/** @endcond */

#endif
```

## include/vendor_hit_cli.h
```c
/*
* Vendor client model that implements a hit model.
* Message from the client is sent after the client (hit detection) recognizes a hit. This is triggered outside the bluetooth environment.
* The model then sends an acknowledged SET message to the server (watergun) to update the lifes remaining.
* The message payload consists of the playerid (hit detection and watergun belong to the same player) and the remaining lifes. Both are bit encoded.
*/

#ifndef VENDOR_HIT_CLI_H
#define VENDOR_HIT_CLI_H

#include "vendor_model_common.h"

struct bt_mesh_vendor_hit_cli;

/** @def BT_MESH_VENDOR_HIT_CLI_INIT
 *
 * @brief Initialization parameters for a @ref bt_mesh_vendor_hit_cli instance.
 *
 * @param[in] _status_handler Optional status message handler.
 */
#define BT_MESH_VENDOR_HIT_CLI_INIT(_handlers)	\
	{                                                   \
		.handlers = _handlers,                          \
	}

/** @def BT_MESH_MODEL_VENDOR_HIT_CLI
 *
 * @brief Vendor HIT Client model composition data entry.
 *
 * @param[in] _cli Pointer to a @ref bt_mesh_vendor_hit_cli instance.
 */
#define BT_MESH_VENDOR_MODEL_HIT_CLI(_cli)                               				\
	BT_MESH_MODEL_VND_CB(SPYRA_COMPANY_ID,													\
						BT_MESH_MODEL_ID_SPYRA_HIT_CLI,                   			\
			 			_vendor_hit_cli_opcode_list, &(_cli)->pub,                  	\
			 			BT_MESH_MODEL_USER_DATA(struct bt_mesh_vendor_hit_cli, _cli),	\
			 			&_bt_mesh_vendor_hit_cli_cb)


/** Generic Vendor Hit Client state access handlers. */
struct bt_mesh_vendor_hit_cli_handlers {
	/** @brief Get the Hit state.
	 *
	 * @note This handler is mandatory.
	 *
	 * @param[in] cli Client instance to get the state of.
	 * @param[in] ctx Message context for the message that triggered the
	 * change, or NULL if the change is not coming from a message.
	 * @param[out] rsp Response structure to be filled.
	 */
	void (*const status)(struct bt_mesh_vendor_hit_cli *cli,
			  struct bt_mesh_msg_ctx *ctx,
			  struct bt_mesh_vendor_playerstatus_status *rsp);
};
                                         
/**
 * Vendor Hit Client structure.
 *
 * Should be initialized with the @ref BT_MESH_VENDOR_HIT_CLI_INIT macro.
 */
struct bt_mesh_vendor_hit_cli {
	/** Current Transaction ID. */
	uint8_t tid;
	/** Response context for tracking acknowledged messages. */
	struct bt_mesh_msg_ack_ctx ack_ctx;
	/** Publish parameters. */
	struct bt_mesh_model_pub pub;
	/* Publication buffer */
	struct net_buf_simple pub_buf;
	/* Publication data */
	uint8_t pub_data[BT_MESH_MODEL_BUF_LEN(BT_MESH_VENDOR_HIT_SET_OP,
					       BT_MESH_VENDOR_HIT_MSG_SET_MAX_LEN)];
	/** Access model pointer. */
	struct bt_mesh_model *model;
	/** Handler function structure. */
	const struct bt_mesh_vendor_hit_cli_handlers *handlers;
};

/** @brief Set the Hit state in the srv.
 *
 * This call is blocking if the @p rsp buffer is non-NULL. Otherwise, this
 * function will return, and the response will be passed to the
 * @ref bt_mesh_vendor_heartbeat_cli::status_handler callback.
 *
 * @param[in] cli Client model to send on.
 * @param[in] ctx Message context, or NULL to use the configured publish
 * parameters.
 * @param[in] set New hit parameters to set. @p set::transition can either
 * point to a transition structure, or be left to NULL to use the default
 * transition parameters on the server.
 * @param[out] rsp Status response buffer, or NULL to keep from blocking.
 *
 * @retval 0 Successfully sent the message and populated the @p rsp buffer.
 * @retval -EALREADY A blocking request is already in progress.
 * @retval -EADDRNOTAVAIL A message context was not provided and publishing is
 * not configured.
 * @retval -EAGAIN The device has not been provisioned.
 * @retval -ETIMEDOUT The request timed out without a response.
 */
int bt_mesh_vendor_hit_cli_set(struct bt_mesh_vendor_hit_cli *cli,
			  struct bt_mesh_msg_ctx *ctx,
			  const struct bt_mesh_vendor_hit_set *set,
			  struct bt_mesh_vendor_playerstatus_status *rsp);

/** @cond INTERNAL_HIDDEN */
extern const struct bt_mesh_model_op _vendor_hit_cli_opcode_list[];
extern const struct bt_mesh_model_cb _bt_mesh_vendor_hit_cli_cb;
/** @endcond */


#endif
```

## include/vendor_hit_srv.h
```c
/*
* Vendor server model that implements a hit model.
* Message from the client is sent after the client (hit detection) recognizes a hit. This is triggered outside the bluetooth environment.
* The model then sends an acknowledged SET message to the server (watergun) to update the lifes remaining.
* The message payload consists of the playerid (hit detection and watergun belong to the same player) and the remaining lifes. Both are bit encoded.
*/

#ifndef VENDOR_HIT_SRV_H
#define VENDOR_HIT_SRV_H

#include "vendor_model_common.h"

struct bt_mesh_vendor_hit_srv;

/** @def BT_MESH_VENDOR_HIT_SRV_INIT
 *
 * @brief Init parameters for a @ref bt_mesh_vendor_hit_srv instance.
 *
 * @param[in] _handlers State access handlers to use in the model instance.
 */
#define BT_MESH_VENDOR_HIT_SRV_INIT(_handlers)              \
	{                                                             \
		.handlers = _handlers,                                    \
	}


/** @def BT_MESH_VENDOR_MODEL_HIT_SRV
 *
 * @brief Vendor Hit model composition data entry.
 *
 * @param[in] _srv Pointer to a @ref bt_mesh_vendor_hit_srv instance.
 */
#define BT_MESH_VENDOR_MODEL_HIT_SRV(_srv)                                            	\
	BT_MESH_MODEL_VND_CB(SPYRA_COMPANY_ID,														\
						BT_MESH_MODEL_ID_SPYRA_HIT_SRV,                               	\
			 			_vendor_hit_srv_opcode_list, &(_srv)->pub,                      	\
			 			BT_MESH_MODEL_USER_DATA(struct bt_mesh_vendor_hit_srv, _srv),  	\
			 			&_bt_mesh_vendor_hit_srv_cb)

int vendor_hit_srv_pub(struct bt_mesh_vendor_hit_srv *srv,
			  struct bt_mesh_msg_ctx *ctx,
			  const struct bt_mesh_vendor_playerstatus_status *status);

/** Generic Vendor Hit Server state access handlers. */
struct bt_mesh_vendor_hit_srv_handlers {
	/** @brief Set the Hit state.
	 *
	 * When a set message is received, the model publishes a status message, with the response
	 * set to @c rsp. When an acknowledged set message is received, the model also sends a
	 * response back to a client.
	 *
	 * @note This handler is mandatory.
	 *
	 * @param[in] srv Server instance to set the state of.
	 * @param[in] ctx Message context for the message that triggered the
	 * change, or NULL if the change is not coming from a message.
	 * @param[in] set Parameters of the state change.
	 * @param[out] rsp Response structure to be filled.
	 */
	void (*const set)(struct bt_mesh_vendor_hit_srv *srv,
			  struct bt_mesh_msg_ctx *ctx,
			  const struct bt_mesh_vendor_hit_set *set,
			  struct bt_mesh_vendor_playerstatus_status *rsp);
	/** @brief Get the Hit Model state.
	 *
	 * @note This handler is mandatory.
	 *
	 * @param[in] srv Server instance to get the state of.
	 * @param[in] ctx Message context for the message that triggered the
	 * change, or NULL if the change is not coming from a message.
	 * @param[out] rsp Response structure to be filled.
	 */
	void (*const get)(struct bt_mesh_vendor_hit_srv *srv,
			  struct bt_mesh_msg_ctx *ctx,
			  struct bt_mesh_vendor_playerstatus_status *rsp);
};

/**
 * Generic Vendor Hit Server instance. Should primarily be initialized with the
 * @ref BT_MESH_VENDOR_HIT_SRV_INIT macro.
 */
struct bt_mesh_vendor_hit_srv {
	/** Transaction ID tracker. */
	struct bt_mesh_tid_ctx prev_transaction;
	/** Handler function structure. */
	const struct bt_mesh_vendor_hit_srv_handlers *handlers;
	/** Access model pointer. */
	struct bt_mesh_model *model;
	/** Publish parameters. */
	struct bt_mesh_model_pub pub;
	/* Publication buffer */
	struct net_buf_simple pub_buf;
	/* Publication data */
	uint8_t pub_data[BT_MESH_MODEL_BUF_LEN(
		BT_MESH_VENDOR_HIT_STATUS_OP, BT_MESH_VENDOR_HIT_MSG_STATUS_MAX_LEN)];
	/** Internal flag state. */
	atomic_t flags;
};


/** @cond INTERNAL_HIDDEN */
extern const struct bt_mesh_model_op _vendor_hit_srv_opcode_list[];
extern const struct bt_mesh_model_cb _bt_mesh_vendor_hit_srv_cb;
/** @endcond */

#endif
```
